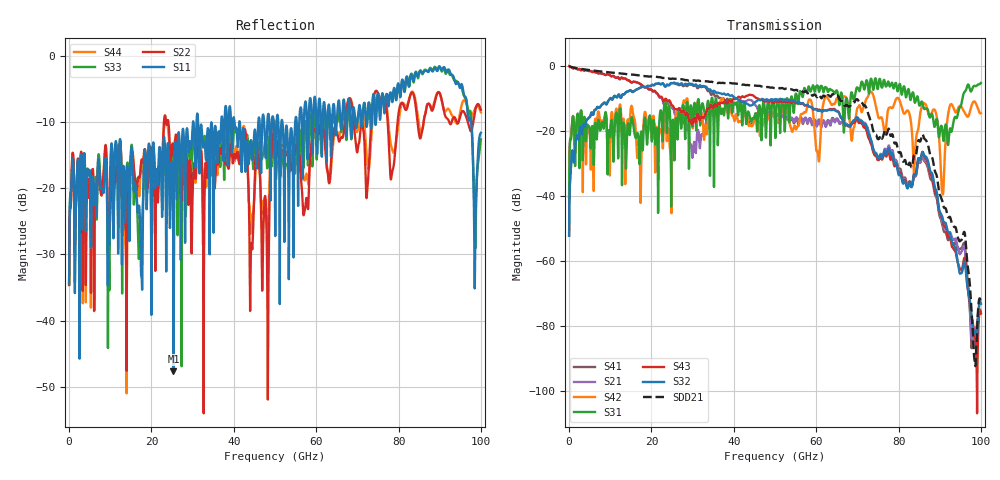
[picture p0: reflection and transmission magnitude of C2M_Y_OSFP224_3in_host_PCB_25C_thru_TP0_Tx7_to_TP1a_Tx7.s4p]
# GHz S RI R 45
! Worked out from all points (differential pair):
!   4000 points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, 25 MHz to 100 GHz, reference 45 ohm
!   strongest paths, dB at 25 MHz, 25.02 GHz, 50.02 GHz, 75.03 GHz, 100 GHz:
!     S32: -52.3, -5.4, -10.3, -28.4, -73.3
!     S43: -0.1, -12.2, -11.1, -29.0, -76.2
!     S31: -40.5, -19.2, -19.1, -6.9, -5.3
!     S42: -40.4, -26.7, -15.9, -15.6, -14.6
!     S21: -0.1, -13.1, -15.4, -28.2, -73.1
!     S41: -52.3, -5.3, -15.2, -28.8, -76.1
!   taken as a pair (ports 3,1 in; 4,2 out), SDD21 dB: -0.1, -3.9, -6.9, -22.6, -73.4
!   lowest |S11| = -47.7 dB at 25.35 GHz (marker M1), VSWR 1.01, Z = 45.4 + j0.0295 ohm
!   |S11| at or under -10 dB: start of sweep to 30.08 GHz; 31.35 GHz to 34.57 GHz (3.218 GHz wide, 9.76 % of centre); 41.48 GHz to 45.96 GHz (4.476 GHz wide, 10.2 % of centre) (the widest 3 of 33)
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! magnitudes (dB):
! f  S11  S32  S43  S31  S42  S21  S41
! 25 MHz  -34.4  -52.3  -0.1  -40.5  -40.4  -0.1  -52.3
! 5.25 GHz  -24.1  -15.1  -1.6  -25.5  -30.3  -1.6  -15.1
! 25.35 GHz  -47.7  -5.3  -12.6  -17.9  -22.1  -13.3  -5.4
! 86.08 GHz  -2.4  -27.1  -27.3  -12.9  -11.4  -28.5  -28.6
! 90.67 GHz  -1.9  -46.7  -47.3  -20.2  -39.4  -48.3  -49.0
! 92.6 GHz  -2.6  -51.9  -53.2  -19.4  -12.0  -51.3  -52.9
! 100 GHz  -11.6  -73.3  -76.2  -5.3  -14.6  -73.1  -76.1
